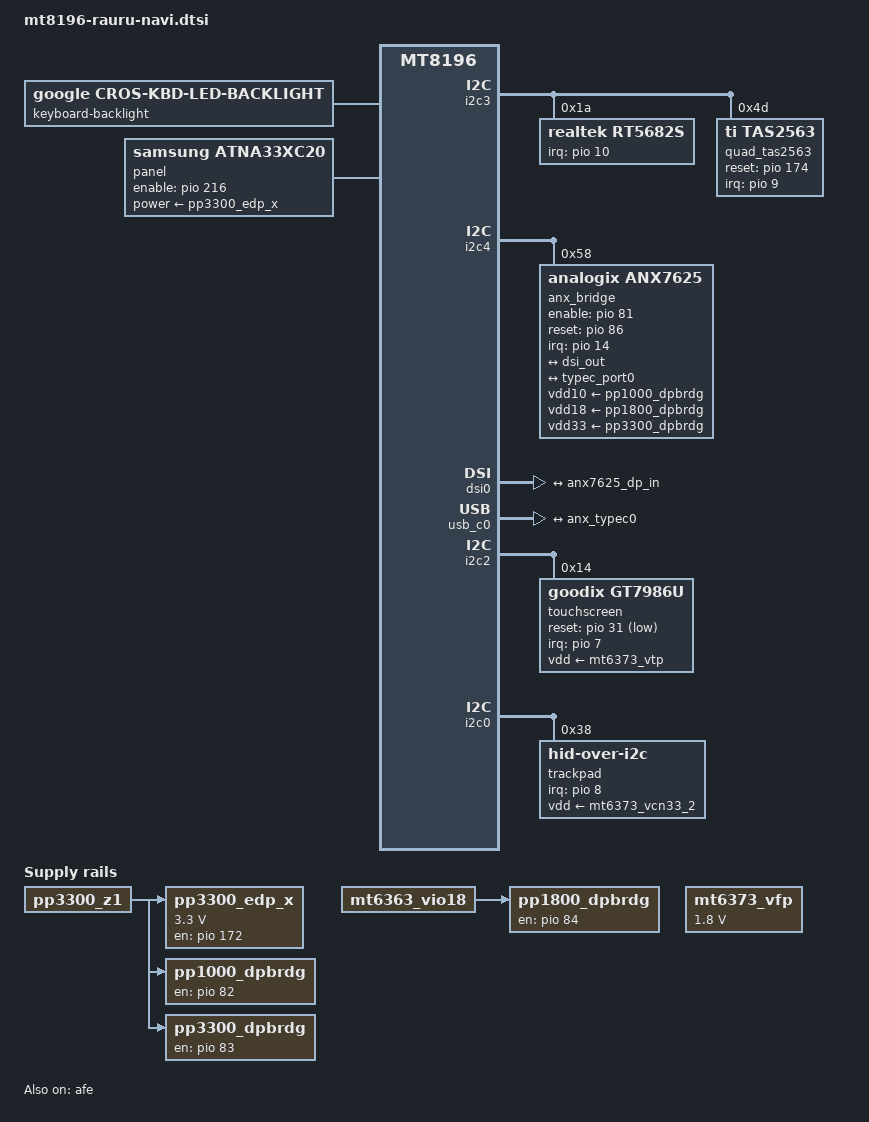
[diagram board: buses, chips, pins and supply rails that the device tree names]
// SPDX-License-Identifier: (GPL-2.0 OR MIT)
/*
 * Copyright 2024 Google LLC
 */

/dts-v1/;
#include "mt8196-rauru.dtsi"
#include <dt-bindings/thermal/thermal.h>

/ {
	pp3300_edp_x: regulator-pp3300-edp-x {
		compatible = "regulator-fixed";
		regulator-name = "pp3300_edp_x";
		regulator-min-microvolt = <3300000>;
		regulator-max-microvolt = <3300000>;
		enable-active-high;
		gpio = <&pio 172 GPIO_ACTIVE_HIGH>;
		pinctrl-names = "default";
		pinctrl-0 = <&pp3300_edp_pin>;
		vin-supply = <&pp3300_z1>;
	};

	pp1000_dpbrdg: regulator-pp1000-dpbrdg {
		compatible = "regulator-fixed";
		regulator-name = "pp1000_dpbrdg";
		pinctrl-names = "default";
		pinctrl-0 = <&pp1000_dpbrdg_pin>;
		enable-active-high;
		regulator-boot-on;
		gpio = <&pio 82 GPIO_ACTIVE_HIGH>;
		vin-supply = <&pp3300_z1>;
	};

	pp1800_dpbrdg: regulator-pp1800-dpbrdg-dx {
		compatible = "regulator-fixed";
		regulator-name = "pp1800_dpbrdg_dx";
		pinctrl-names = "default";
		pinctrl-0 = <&pp1800_dpbrdg_pin>;
		enable-active-high;
		regulator-boot-on;
		gpio = <&pio 84 GPIO_ACTIVE_HIGH>;
		vin-supply = <&mt6363_vio18>;
	};

	pp3300_dpbrdg: regulator-pp3300-dp-dx {
		compatible = "regulator-fixed";
		regulator-name = "pp3300_dpbrdg";
		pinctrl-names = "default";
		pinctrl-0 = <&pp3300_dpbrdg_pin>;
		enable-active-high;
		regulator-boot-on;
		gpio = <&pio 83 GPIO_ACTIVE_HIGH>;
		vin-supply = <&pp3300_z1>;
	};
};

&cros_ec {
	#thermal-sensor-cells = <1>;
	#cooling-cells = <2>;

	keyboard-backlight {
		compatible = "google,cros-kbd-led-backlight";
	};
};

&i2c3 {
	/delete-node/ audio-codec@1a;

	rt5682s: audio-codec@1a {
		compatible = "realtek,rt5682s";
		reg = <0x1a>;
		interrupt-parent = <&pio>;
		interrupts = <10 IRQ_TYPE_EDGE_BOTH>;
		pinctrl-names = "default";
		pinctrl-0 = <&nau8825_pins>;
		realtek,jd-src = <1>;
		#sound-dai-cells = <0>;
	};

	quad_tas2563: speaker-codec@4d {
		compatible = "ti,tas2563";
		reg = <0x4d>, /* Woffer Left */
		      <0x4f>, /* Tweeter Left */
		      <0x4c>, /* Woffer Right */
		      <0x4e>; /* Tweeter Right */

		#sound-dai-cells = <0>;
		reset-gpios = <&pio 174 GPIO_ACTIVE_HIGH>;
		interrupts-extended = <&pio 9 IRQ_TYPE_LEVEL_LOW>;
	};
};

&i2c4 {
	anx_bridge: anx7625@58 {
		compatible = "analogix,anx7625";
		reg = <0x58>;
		pinctrl-names = "default";
		pinctrl-0 = <&anx7625_pins>;
		enable-gpios = <&pio 81 GPIO_ACTIVE_HIGH>;
		reset-gpios = <&pio 86 GPIO_ACTIVE_HIGH>;
		interrupts-extended = <&pio 14 IRQ_TYPE_LEVEL_LOW>;
		vdd10-supply = <&pp1000_dpbrdg>;
		vdd18-supply = <&pp1800_dpbrdg>;
		vdd33-supply = <&pp3300_dpbrdg>;
		analogix,audio-enable;
		#address-cells = <1>;
		#size-cells = <0>;
		#sound-dai-cells = <0>;

		ports {
			#address-cells = <1>;
			#size-cells = <0>;

			port@0 {
				reg = <0>;
				anx7625_dp_in: endpoint {
					remote-endpoint = <&dsi_out>;
				};
			};
		};

		switches {
			#address-cells = <1>;
			#size-cells = <0>;
			switch@0 {
				compatible = "typec-switch";
				reg = <0>;
				mode-switch;

				ports {
					#address-cells = <1>;
					#size-cells = <0>;
					port@0 {
						reg = <0>;
						anx_typec0: endpoint {
							remote-endpoint = <&typec_port0>;
						};
					};
				};
			};
		};
	};
};

&dsi0 {
	status = "okay";

	port {
		dsi_out: endpoint {
			remote-endpoint = <&anx7625_dp_in>;
		};
	};
};

&usb_c0 {
	ports {
		#address-cells = <1>;
		#size-cells = <0>;

		port@1 {
			reg = <1>;

			typec_port0: endpoint {
				remote-endpoint = <&anx_typec0>;
			};
		};
	};
};

&i2c2 {
	/delete-node/ touchscreen@41;

	/* goodix touchscreen */
	touchscreen@14 {
		compatible = "goodix,gt7986u", "goodix,gt7375p";
		reg = <0x14>;
		interrupts-extended = <&pio 7 IRQ_TYPE_LEVEL_LOW>;
		pinctrl-names = "default";
		pinctrl-0 = <&touchscreen_pins>;
		reset-gpios = <&pio 31 GPIO_ACTIVE_LOW>;
		vdd-supply = <&mt6373_vtp>;
	};
};

&i2c0 {
	/* focal trackpad */
	trackpad@38 {
		compatible = "hid-over-i2c";
		reg = <0x38>;
		interrupts-extended = <&pio 8 IRQ_TYPE_LEVEL_LOW>;
		hid-descr-addr = <0x0020>;
		vdd-supply = <&mt6373_vcn33_2>;
		wakeup-source;
	};
};

&mt6373_vfp {
	compatible = "regulator-fixed";
	regulator-name = "pp1800_vfp";
	regulator-min-microvolt = <1800000>;
	regulator-max-microvolt = <1800000>;

	/* TODO: b/394494941 fix after elan driver ready*/
	regulator-always-on;
};

&backlight {
	status = "disabled";
};

&panel {
	compatible = "samsung,atna33xc20";
	enable-gpios = <&pio 216 GPIO_ACTIVE_HIGH>;
	power-supply = <&pp3300_edp_x>;
	/delete-property/ backlight;
};

&mt6373_vcn33_3 {
	status = "disabled";
};

&afe {
	/* Only for ETDM in/out 4 */
	etdm-out-ch = <2>;
	etdm-in-ch = <2>;
	etdm-out-sync = <0>; /* 0: disable; 1: enable */
	etdm-in-sync = <0>; /* 0: disable; 1: enable */
	etdm-ip-mode = <0>; /* 0: One IP multi-channel 1: Multi-IP 2-channel */
	status = "okay";
};

&sound {
	compatible = "mediatek,mt8196-rt5682s-sound";
	model = "mt8196_tas2563_5682";
	mediatek,adsp = <&adsp>;
	status = "okay";

	dai-link-0 {
		link-name = "I2SOUT6_BE";
		mediatek,clk-provider = "cpu";

		codec {
			sound-dai = <&rt5682s>;
		};
	};

	dai-link-1 {
		link-name = "I2SIN6_BE";
		mediatek,clk-provider = "cpu";

		codec {
			sound-dai = <&rt5682s>;
		};
	};

	dai-link-2 {
		link-name = "I2SOUT4_BE";
		mediatek,clk-provider = "cpu";

		codec {
			sound-dai = <&quad_tas2563>;
		};
	};

	dai-link-3 {
		link-name = "TDM_DPTX_BE";

		codec {
			sound-dai = <&dp_tx>;
		};
	};

	dai-link-4 {
		link-name = "I2SOUT3_BE";
		mediatek,clk-provider = "cpu";

		codec {
			sound-dai = <&anx_bridge>;
		};
	};
};

&thermal_zones {
	bulk-board-thermal {
		polling-delay = <1000>;
		polling-delay-passive = <1000>;
		thermal-sensors = <&cros_ec 0>;
		sustainable-power = <3350>; /* estimated sustainable power when saturated */

		trips {
			bulk_threshold: trip-point@0 {
				temperature = <45000>; /* switch on temperature */
				hysteresis = <2000>;
				type = "passive";
			};
			bulk_target: trip-point@1 {
				temperature = <50000>; /* desired temperature */
				hysteresis = <2000>;
				type = "passive";
			};
		};

		cooling-maps {
			map0 {
				trip = <&bulk_target>;
				cooling-device =
					<&cpu0 THERMAL_NO_LIMIT 10>,
					<&cpu1 THERMAL_NO_LIMIT 10>,
					<&cpu2 THERMAL_NO_LIMIT 10>,
					<&cpu3 THERMAL_NO_LIMIT 10>;
				contribution = <2048>;
			};
			map1 {
				trip = <&bulk_target>;
				cooling-device =
					<&cpu4 THERMAL_NO_LIMIT 16>,
					<&cpu5 THERMAL_NO_LIMIT 16>,
					<&cpu6 THERMAL_NO_LIMIT 16>;
				contribution = <1024>;
			};
			map2 {
				trip = <&bulk_target>;
				cooling-device =
					<&cpu7 THERMAL_NO_LIMIT 19>;
				contribution = <768>;
			};
		};
	};
};

&keyboard_controller {
	keypad,num-columns = <18>;

	function-row-physmap = <
		MATRIX_KEY(0x00, 0x02, 0)		/* T1 */
		MATRIX_KEY(0x03, 0x02, 0)		/* T2 */
		MATRIX_KEY(0x02, 0x02, 0)		/* T3 */
		MATRIX_KEY(0x01, 0x02, 0)		/* T4 */
		MATRIX_KEY(0x04, 0x04, 0)		/* T5 */
		MATRIX_KEY(0x02, 0x04, 0)		/* T6 */
		MATRIX_KEY(0x01, 0x04, 0)		/* T7 */
		MATRIX_KEY(0x02, 0x0b, 0)		/* T8 */
		MATRIX_KEY(0x01, 0x09, 0)		/* T9 */
		MATRIX_KEY(0x00, 0x04, 0)		/* T10 */
		MATRIX_KEY(0x00, 0x01, 0)		/* T11 */
		MATRIX_KEY(0x01, 0x05, 0)		/* T12 */
		MATRIX_KEY(0x03, 0x05, 0)		/* T13 */
		MATRIX_KEY(0x00, 0x0b, 0)		/* T14 */
	>;

	linux,keymap = <
		CROS_TOP_ROW_KEYMAP_V30
		CROS_MAIN_KEYMAP_V30

		MATRIX_KEY(0x00, 0x02, KEY_BACK)		/* T1 */
		MATRIX_KEY(0x03, 0x02, KEY_REFRESH)		/* T2 */
		MATRIX_KEY(0x02, 0x02, KEY_ZOOM)		/* T3 */
		MATRIX_KEY(0x01, 0x02, KEY_SCALE)		/* T4 */
		MATRIX_KEY(0x04, 0x04, KEY_SYSRQ)		/* T5 */
		MATRIX_KEY(0x02, 0x04, KEY_BRIGHTNESSDOWN)	/* T6 */
		MATRIX_KEY(0x01, 0x04, KEY_BRIGHTNESSUP)	/* T7 */
		MATRIX_KEY(0x02, 0x0b, KEY_KBDILLUMTOGGLE)	/* T8 */
		MATRIX_KEY(0x01, 0x09, KEY_MICMUTE)		/* T9 */
		MATRIX_KEY(0x00, 0x04, KEY_MUTE)		/* T10 */
		MATRIX_KEY(0x00, 0x01, KEY_VOLUMEDOWN)		/* T11 */
		MATRIX_KEY(0x01, 0x05, KEY_VOLUMEUP)		/* T12 */
		MATRIX_KEY(0x03, 0x05, KEY_ACCESSIBILITY)	/* T13 */
		MATRIX_KEY(0x00, 0x0b, KEY_DICTATE)		/* T14 */
	>;
};

&pio {
	anx7625_pins: anx7625-pins {
		pins-bus {
			pinmux = <PINMUX_GPIO81__FUNC_GPIO81>,
				 <PINMUX_GPIO86__FUNC_GPIO86>;
			output-low;
		};

		pins-in {
			pinmux = <PINMUX_GPIO14__FUNC_GPIO14>;
			input-enable;
			bias-pull-up;
		};
	};

	pp3300_edp_pin: pp3300-edp-pins {
		pins-en {
			pinmux = <PINMUX_GPIO172__FUNC_GPIO172>;
			output-high;
		};
	};

	pp1000_dpbrdg_pin: pp1000-dpbrdg-pins {
		pins-en {
			pinmux = <PINMUX_GPIO82__FUNC_GPIO82>;
			output-low;
		};
	};

	pp1800_dpbrdg_pin: pp1800-dpbrdg-pins {
		pins-en {
			pinmux = <PINMUX_GPIO84__FUNC_GPIO84>;
			output-low;
		};
	};

	pp3300_dpbrdg_pin: en-pp3300-dpbrdg-pins {
		pins-en {
			pinmux = <PINMUX_GPIO83__FUNC_GPIO83>;
			output-low;
		};
	};
};
